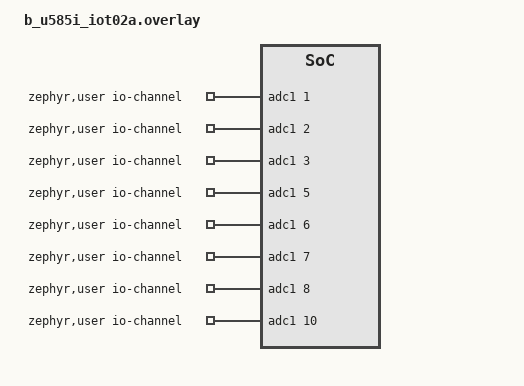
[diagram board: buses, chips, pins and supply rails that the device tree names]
/*
 * SPDX-License-Identifier: Apache-2.0
 *
 * Copyright (c) Benjamin Björnsson <benjamin.bjornsson@gmail.com>
 */

/*
 * SPDX-License-Identifier: Apache-2.0
 *
 * Copyright (c) Benjamin Björnsson <benjamin.bjornsson@gmail.com>
 */

/ {
	zephyr,user {
		/* adjust channel number according to pinmux in board.dts */
		io-channels = <&adc1 1>, <&adc1 2>, <&adc1 3>, <&adc1 5>, <&adc1 6>,
			      <&adc1 7>, <&adc1 8>, <&adc1 10>, <&adc1 11>, <&adc1 12>,
			      <&adc1 13>, <&adc1 14>, <&adc1 15>, <&adc1 16>, <&adc1 17>;
		prio0-io-channels = <&adc1 1>, <&adc1 2>, <&adc1 3>, <&adc1 5>,
				    <&adc1 7>, <&adc1 8>, <&adc1 10>, <&adc1 11>,
				    <&adc1 13>, <&adc1 14>, <&adc1 15>, <&adc1 16>;
		prio1-io-channels = <&adc1 6>, <&adc1 12>, <&adc1 17>;
	};
};

&adc4 {
	status = "disabled";
};
